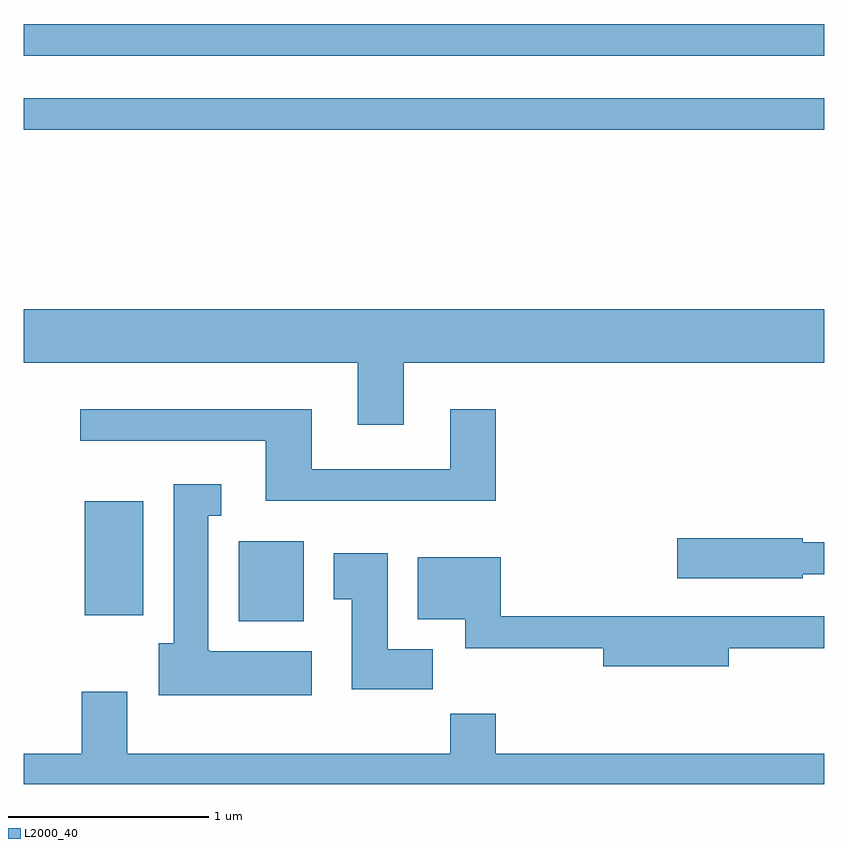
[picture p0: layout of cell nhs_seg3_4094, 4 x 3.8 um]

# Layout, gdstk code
import gdstk
lib = gdstk.Library(unit=1e-6, precision=1e-09)
def R(c, l, rs):  # rectangles x0, y0, x1, y1
    for r in rs: c.add(gdstk.rectangle(r[:2], r[2:], *l))
def P(c, l, *ps):  # polygons
    for p in ps: c.add(gdstk.Polygon(p, *l))
L2000_40 = (2000, 40)

nhs_seg3_4094 = lib.new_cell('nhs_seg3_4094')
R(nhs_seg3_4094, L2000_40, [(306.686,1144.706,307.009,1145.104), (305.916,1144.736,306.209,1145.304), (305.611,1147.161,309.611,1147.319), (305.611,1147.531,309.611,1147.689)])
P(nhs_seg3_4094, L2000_40, [(307.509,1145.996),(309.611,1145.996),(309.611,1146.264),(305.611,1146.264),(305.611,1145.996),(307.281,1145.996),(307.281,1145.686),(307.509,1145.686)],
  [(307.969,1145.764),(307.741,1145.764),(307.741,1145.464),(307.049,1145.464),(307.049,1145.764),(305.893,1145.764),(305.893,1145.606),(306.821,1145.606),(306.821,1145.306),(307.969,1145.306)],
  [(307.049,1144.554),(306.54,1144.554),(306.54,1144.56),(306.534,1144.56),(306.534,1145.231),(306.598,1145.231),(306.598,1145.389),(306.361,1145.389),(306.361,1144.594),(306.286,1144.594),(306.286,1144.336),(307.049,1144.336)],
  [(309.504,1144.941),(309.611,1144.941),(309.611,1145.099),(309.504,1145.099),(309.504,1145.119),(308.876,1145.119),(308.876,1144.921),(309.504,1144.921)],
  [(307.654,1144.564),(307.429,1144.564),(307.429,1145.044),(307.161,1145.044),(307.161,1144.816),(307.251,1144.816),(307.251,1144.366),(307.654,1144.366)],
  [(309.134,1144.571),(309.611,1144.571),(309.611,1144.729),(307.994,1144.729),(307.994,1145.024),(307.581,1145.024),(307.581,1144.716),(307.816,1144.716),(307.816,1144.571),(308.506,1144.571),(308.506,1144.481),(309.134,1144.481)],
  [(309.611,1144.044),(307.969,1144.044),(307.969,1144.244),(307.741,1144.244),(307.741,1144.044),(306.129,1144.044),(306.129,1144.354),(305.901,1144.354),(305.901,1144.044),(305.611,1144.044),(305.611,1143.892),(309.611,1143.892)])

lib.write_gds('nhs_seg3_4094.gds')
